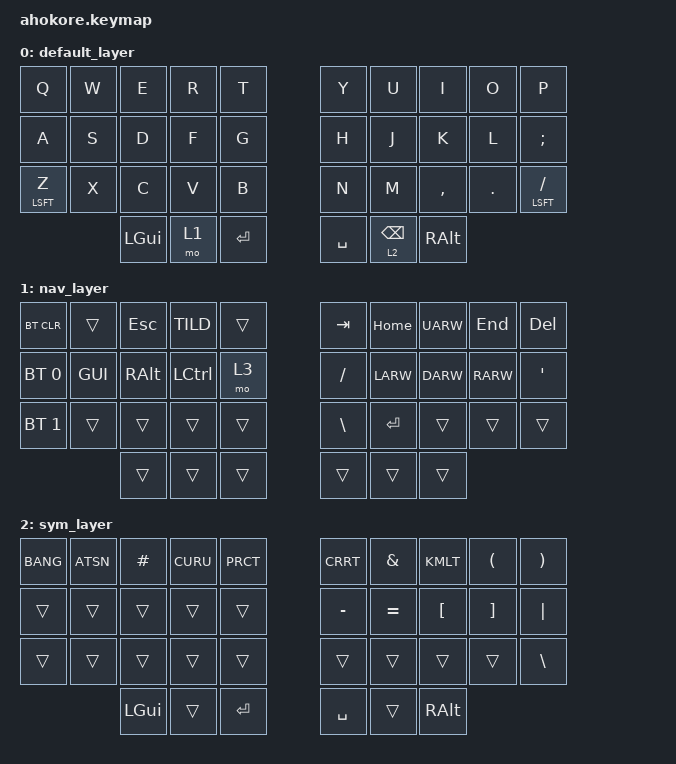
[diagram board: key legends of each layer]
/*
 * Copyright (c) 2020 The ZMK Contributors
 *
 * SPDX-License-Identifier: MIT
 */

#include <behaviors.dtsi>
#include <dt-bindings/zmk/keys.h>
#include <dt-bindings/zmk/bt.h>

#define default_layer 0
#define nav_layer   1
#define sym_layer   2

/ {
        keymap {
                compatible = "zmk,keymap";

                default_layer {
// -----------------------------------------------------------------------------------------
// |  Q  |  W  |  E  |  R  |  T   |   |  Y  |  U   |  I  |  O  |  P  |
// |  A  |  S  |  D  |  F  |  G   |   |  H  |  J   |  K  |  L  |  ;  |
// |  Z  |  X  |  C  |  V  |  B   |   |  N  |  M   |  ,  |  .  |  /  |
//             | GUI | NAV | SHFT |   | SPC | SYM  | ALT |
                        bindings = <
   &kp Q &kp W &kp E &kp R &kp T   &kp Y &kp U  &kp I    &kp O   &kp P
   &kp A &kp S &kp D &kp F &kp G   &kp H &kp J  &kp K    &kp L   &kp SCLN
   &mt LSFT Z &kp X &kp C &kp V &kp B   &kp N &kp M  &kp CMMA &kp DOT &mt LSFT FSLH
          &kp LGUI &mo 1 &kp RET   &kp SPC &lt 2 BKSP &kp RALT
                        >;
                };
                nav_layer {
// -----------------------------------------------------------------------------------------
// |BTCLR|     | ESC |  ~   |     |   | TAB | HOME |  UP  | END | DEL  |
// | BT1 | GUI | ALT | CTRL | NUM |   |  /  | LEFT | DOWN | RGT | BKSP |
// | BT2 |     |     |      |     |   |  \  | ENT  |      |     |      |
//             |     |      |     |   |     |      |      |
                        bindings = <
   &bt BT_CLR   &trans  &kp ESC  &kp TILD &trans     &kp TAB  &kp HOME &kp UARW &kp END  &kp DEL
   &bt BT_SEL 0 &kp GUI &kp RALT &kp LCTL &mo 3      &kp FSLH &kp LARW &kp DARW &kp RARW &kp APOS
   &bt BT_SEL 1 &trans  &trans   &trans   &trans     &kp BSLH &kp RET  &trans   &trans    &trans
                        &trans   &trans   &trans     &trans   &trans   &trans
                        >;
                };

                sym_layer {
// -----------------------------------------------------------------------------------------
// |  !  |  @  |  #  |  $  |  %  |   |  ^  |  &  |  *  |  (  |  )  |
// |     |     |     |     |     |   |  -  |  =  |  {  |  }  | "|" |
// |     |     |     |     |     |   |  _  |  +  |  [  |  ]  |  \  |
//             | GUI |     | SPC |   | ENT |     | ALT |
                        bindings = <
   &kp BANG  &kp ATSN  &kp HASH  &kp CURU  &kp PRCT    &kp CRRT  &kp AMPS &kp KMLT &kp LPRN &kp RPRN
   &trans    &trans    &trans    &trans    &trans      &kp MINUS &kp EQL  &kp LBKT &kp RBKT &kp PIPE
   &trans    &trans    &trans    &trans    &trans      &trans    &trans   &trans   &trans   &kp BSLH
                       &kp LGUI  &trans    &kp RET     &kp SPC   &trans   &kp RALT
                        >;
                };
              };
          };
